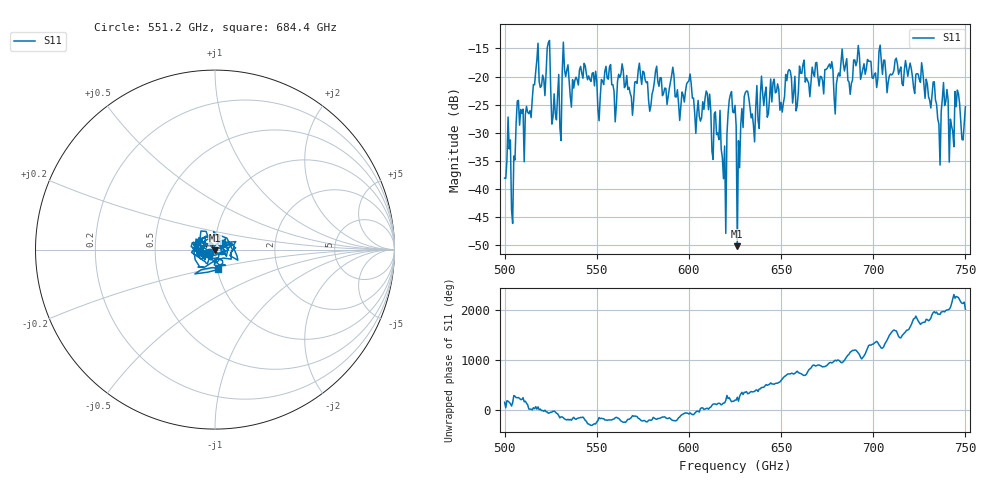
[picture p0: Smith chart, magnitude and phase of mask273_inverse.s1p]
!Created with skrf (http://scikit-rf.org).
# GHz S MA R 50.0
!freq magS11 angS11
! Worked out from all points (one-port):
!   401 points, 500 GHz to 750 GHz, reference 50 ohm
!   lowest |S11| = -50.2 dB at 626.2 GHz (marker M1), VSWR 1.01, Z = 49.9 - j0.302 ohm
!   |S11| at or under -10 dB: start of sweep to end of sweep
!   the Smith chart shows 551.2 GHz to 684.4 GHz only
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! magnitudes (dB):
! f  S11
! 500 GHz  -38.1
! 501.9 GHz  -27.2
! 505 GHz  -34.1
! 507.5 GHz  -24.2
! 511.9 GHz  -25.3
! 516.9 GHz  -19.1
! 523.8 GHz  -13.9
! 526.9 GHz  -23.1
! 531.2 GHz  -19.2
! 533.1 GHz  -20.0
! 551.2 GHz  -27.9
! 562.5 GHz  -20.2
! 593.8 GHz  -22.3
! 610 GHz  -23.0
! 618.8 GHz  -38.2
! 622.5 GHz  -23.2
! 625 GHz  -25.1
! 626.2 GHz  -50.2
! 631.2 GHz  -22.6
! 635 GHz  -28.7
! 656.2 GHz  -24.7
! 687.5 GHz  -23.2
! 718.8 GHz  -20.0
! 735.6 GHz  -28.4
! 739.4 GHz  -24.4
! 742.5 GHz  -28.8
! 745.6 GHz  -22.4
! 750 GHz  -25.4
